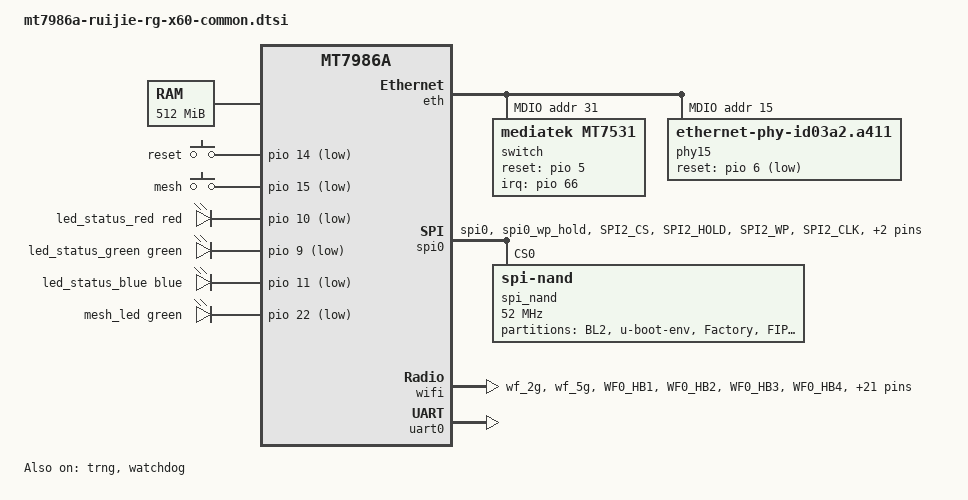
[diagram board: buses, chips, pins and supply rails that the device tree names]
// SPDX-License-Identifier: (GPL-2.0 OR MIT)

/dts-v1/;
#include <dt-bindings/input/input.h>
#include <dt-bindings/gpio/gpio.h>
#include <dt-bindings/leds/common.h>

#include "mt7986a.dtsi"

/ {
	aliases {
		serial0 = &uart0;
		led-boot = &led_status_red;
 		led-failsafe = &led_status_red;
 		led-running = &led_status_green;
 		led-upgrade = &led_status_blue;
	};

	chosen: chosen {
		bootargs = "console=ttyS0,115200n8 earlycon=uart8250,mmio32,0x11002000";
	};

	memory@40000000 {
		reg = <0 0x40000000 0 0x20000000>;
	};

	gpio-keys {
		compatible = "gpio-keys";

		button-0 {
			label = "reset";
			gpios = <&pio 14 GPIO_ACTIVE_LOW>;
			linux,code = <KEY_RESTART>;
		};

		button-1 {
			label = "mesh";
			gpios = <&pio 15 GPIO_ACTIVE_LOW>;
			linux,code = <BTN_MISC>;
		};
	};

	gpio-leds {
		compatible = "gpio-leds";

		led_status_red: led-0 {
			color = <LED_COLOR_ID_RED>;
			function = LED_FUNCTION_STATUS;
			gpios = <&pio 10 GPIO_ACTIVE_LOW>;
		};

		led_status_green: led-1 {
			color = <LED_COLOR_ID_GREEN>;
			function = LED_FUNCTION_STATUS;
			gpios = <&pio 9 GPIO_ACTIVE_LOW>;
		};

		led_status_blue: led-2 {
			color = <LED_COLOR_ID_BLUE>;
			function = LED_FUNCTION_STATUS;
			gpios = <&pio 11 GPIO_ACTIVE_LOW>;
		};

		mesh_led: led-3 {
			color = <LED_COLOR_ID_GREEN>;
			function = "mesh";
			gpios = <&pio 22 GPIO_ACTIVE_LOW>;
		};
	};
};

&eth {
	status = "okay";

	gmac0: mac@0 {
		compatible = "mediatek,eth-mac";
		reg = <0>;
		phy-mode = "2500base-x";
		fixed-link {
			speed = <2500>;
			full-duplex;
			pause;
		};
	};

	gmac1: mac@1 {
		compatible = "mediatek,eth-mac";
		reg = <1>;
		phy-mode = "2500base-x";
		phy-handle = <&phy15>;
	};

	mdio: mdio-bus {
		#address-cells = <1>;
		#size-cells = <0>;
	};
};

&mdio {
	switch: switch@1f {
		compatible = "mediatek,mt7531";
		reg = <31>;
		reset-gpios = <&pio 5 GPIO_ACTIVE_HIGH>;
		interrupt-controller;
		#interrupt-cells = <1>;
		interrupt-parent = <&pio>;
		interrupts = <66 IRQ_TYPE_LEVEL_HIGH>;
	};

	phy15: phy@15 {
		compatible = "ethernet-phy-id03a2.a411";
		reg = <15>;
		reset-gpios = <&pio 6 1>;
		reset-assert-us = <10000>;
		reset-deassert-us = <20000>;
		phy-mode = "2500base-x";
		airoha,phy-handle;
	};
};

&pio {
	spi_flash_pins: spi-flash-pins-33-to-38 {
		mux {
			function = "spi";
			groups = "spi0", "spi0_wp_hold";
		};
		conf-pu {
			pins = "SPI2_CS", "SPI2_HOLD", "SPI2_WP";
			drive-strength = <8>;
			mediatek,pull-up-adv = <0>; /* bias-disable */
		};
		conf-pd {
			pins = "SPI2_CLK", "SPI2_MOSI", "SPI2_MISO";
			drive-strength = <8>;
			mediatek,pull-down-adv = <0>; /* bias-disable */
		};
	};

	wf_dbdc_pins: wf-dbdc-pins {
		mux {
			function = "wifi";
			groups = "wf_dbdc";
		};
		conf {
			pins = "WF0_HB1", "WF0_HB2", "WF0_HB3", "WF0_HB4",
			       "WF0_HB0", "WF0_HB0_B", "WF0_HB5", "WF0_HB6",
			       "WF0_HB7", "WF0_HB8", "WF0_HB9", "WF0_HB10",
			       "WF0_TOP_CLK", "WF0_TOP_DATA", "WF1_HB1",
			       "WF1_HB2", "WF1_HB3", "WF1_HB4", "WF1_HB0",
			       "WF1_HB5", "WF1_HB6", "WF1_HB7", "WF1_HB8",
			       "WF1_TOP_CLK", "WF1_TOP_DATA";
			drive-strength = <4>;
		};
	};

	wf_2g_5g_pins: wf_2g_5g-pins {
		mux {
			function = "wifi";
			groups = "wf_2g", "wf_5g";
		};
		conf {
			pins = "WF0_HB1", "WF0_HB2", "WF0_HB3", "WF0_HB4",
			       "WF0_HB0", "WF0_HB0_B", "WF0_HB5", "WF0_HB6",
			       "WF0_HB7", "WF0_HB8", "WF0_HB9", "WF0_HB10",
			       "WF0_TOP_CLK", "WF0_TOP_DATA", "WF1_HB1",
			       "WF1_HB2", "WF1_HB3", "WF1_HB4", "WF1_HB0",
			       "WF1_HB5", "WF1_HB6", "WF1_HB7", "WF1_HB8",
			       "WF1_TOP_CLK", "WF1_TOP_DATA";
			drive-strength = <4>;
		};
	};
};

&spi0 {
	pinctrl-names = "default";
	pinctrl-0 = <&spi_flash_pins>;
	status = "okay";

	spi_nand: flash@0 {
		compatible = "spi-nand";
		#address-cells = <1>;
		#size-cells = <1>;
		reg = <0>;

		spi-max-frequency = <52000000>;
		spi-tx-bus-width = <4>;
		spi-rx-bus-width = <4>;

		spi-cal-enable;
		spi-cal-mode = "read-data";
		spi-cal-datalen = <7>;
		spi-cal-data = /bits/ 8 <0x53 0x50 0x49 0x4E 0x41 0x4E 0x44>;
		spi-cal-addrlen = <5>;
		spi-cal-addr = /bits/ 32 <0x0 0x0 0x0 0x0 0x0>;

		partitions: partitions {
			compatible = "fixed-partitions";
			#address-cells = <1>;
			#size-cells = <1>;

			partition@0 {
				label = "BL2";
				reg = <0x000000 0x100000>;
				read-only;
			};

			partition@100000 {
				label = "u-boot-env";
				reg = <0x100000 0x80000>;
				read-only;
			};

			partition@180000 {
				label = "Factory";
				reg = <0x180000 0x200000>;
				read-only;

				nvmem-layout {
					compatible = "fixed-layout";
					#address-cells = <1>;
					#size-cells = <1>;

					eeprom_factory_0: eeprom@0 {
						reg = <0x0 0x1000>;
					};
				};
			};

			partition@380000 {
				label = "FIP";
				reg = <0x380000 0x200000>;
				read-only;
			};

			partition@580000 {
				label = "product_info";
				reg = <0x580000 0x80000>;
				read-only;
			};

			partition@600000 {
				label = "kdump";
				reg = <0x600000 0x80000>;
				read-only;
			};
		};
	};
};

&wifi {
	status = "okay";
	pinctrl-names = "default", "dbdc";
	pinctrl-0 = <&wf_2g_5g_pins>;
	pinctrl-1 = <&wf_dbdc_pins>;

	nvmem-cells = <&eeprom_factory_0>;
	nvmem-cell-names = "eeprom";
};

&trng {
	status = "okay";
};

&uart0 {
	status = "okay";
};

&watchdog {
	status = "okay";
};
